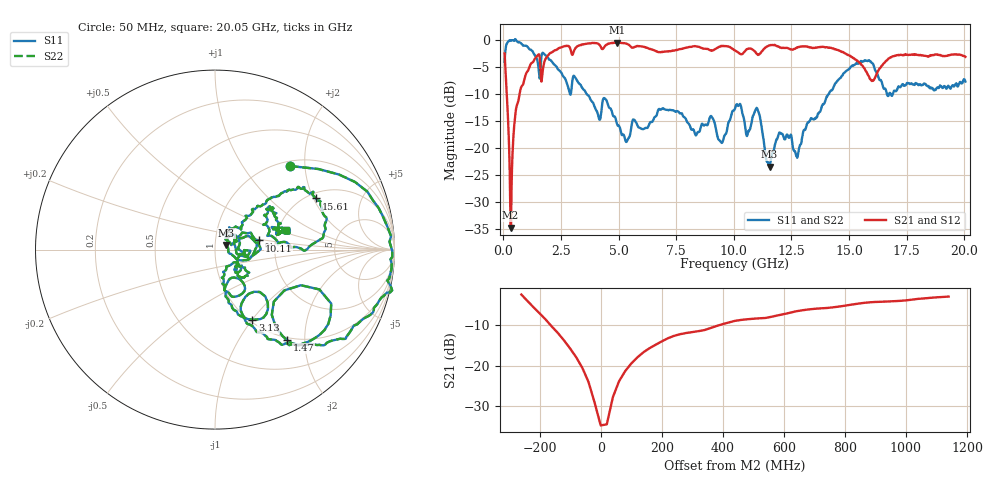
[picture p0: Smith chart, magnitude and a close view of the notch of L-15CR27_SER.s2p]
#	mhz	s	ma	r	50
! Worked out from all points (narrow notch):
!   1001 points, 50 MHz to 20.05 GHz, reference 50 ohm
!   highest |S21| = -0.53 dB at 4.93 GHz (marker M1); lowest = -34.7 dB at 310 MHz (marker M2)
!   notch at M2: 32.8 dB deep, 193 MHz wide at half that depth
!   lowest |S11| = -23.5 dB at 11.55 GHz (marker M3), VSWR 1.14, Z = 56.5 + j2.85 ohm
!   |S11| at or under -10 dB: 3.602 GHz to 14.13 GHz (10.53 GHz wide, 119 % of centre); 16.64 GHz to 16.74 GHz (100.5 MHz wide, 0.602 % of centre); 16.81 GHz to 16.9 GHz (94.49 MHz wide, 0.561 % of centre) (the widest 3 of 4)
!   |S22| runs from -23.5 to 0.1 dB; largest |S21 - S12| = 0
!   S11 on the Smith chart (normalised r, x): 50 MHz: 1.09, +1.67; 1.47 GHz: 0.96, -1.64; 3.13 GHz: 1.03, -1.00; 10.11 GHz: 1.64, +0.18; 15.61 GHz: 2.21, +2.08; 20.05 GHz: 2.21, +0.58
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50  0.625 48.2  0.7471 -37.5  0.7471 -37.5  0.625 48.2
310  0.9877 -0.5  0.01836 -19.0  0.01836 -19.0  0.9877 -0.5
650  0.9431 -20.1  0.2734 72.7  0.2734 72.7  0.9431 -20.1
1470  0.6431 -51.5  0.7128 36.2  0.7128 36.2  0.6431 -51.5
1730  0.7516 -39.2  0.5622 43.5  0.5622 43.5  0.7516 -39.2
3130  0.4432 -62.0  0.8388 19.8  0.8388 19.8  0.4432 -62.0
3390  0.3664 -70.6  0.8957 14.7  0.8957 14.7  0.3664 -70.6
4930  0.1674 -74.3  0.9413 -1.6  0.9413 -1.6  0.1674 -74.3
5370  0.1167 -52.4  0.9131 -7.7  0.9131 -7.7  0.1167 -52.4
6730  0.2269 -34.1  0.7661 -11.5  0.7661 -11.5  0.2269 -34.1
9450  0.113 12.7  0.8772 -17.6  0.8772 -17.6  0.113 12.7
10050  0.2305 14.2  0.7957 -25.2  0.7957 -25.2  0.2305 14.2
10110  0.2519 11.7  0.782 -24.7  0.782 -24.7  0.2519 11.7
10610  0.1386 10.4  0.8228 -19.6  0.8228 -19.6  0.1386 10.4
11030  0.2259 1.1  0.7292 -22.7  0.7292 -22.7  0.2259 1.1
11550  0.06699 22.0  0.8842 -21.1  0.8842 -21.1  0.06699 22.0
12750  0.08119 43.7  0.8523 -27.9  0.8523 -27.9  0.08119 43.7
13390  0.1863 40.1  0.8414 -35.4  0.8414 -35.4  0.1863 40.1
15610  0.6295 26.9  0.5649 -55.6  0.5649 -55.6  0.6295 26.9
16170  0.5061 -0.3  0.4687 -26.3  0.4687 -26.3  0.5061 -0.3
16730  0.3098 16.3  0.6723 -25.9  0.6723 -25.9  0.3098 16.3
20050  0.4105 15.3  0.6949 -55.3  0.6949 -55.3  0.4105 15.3
